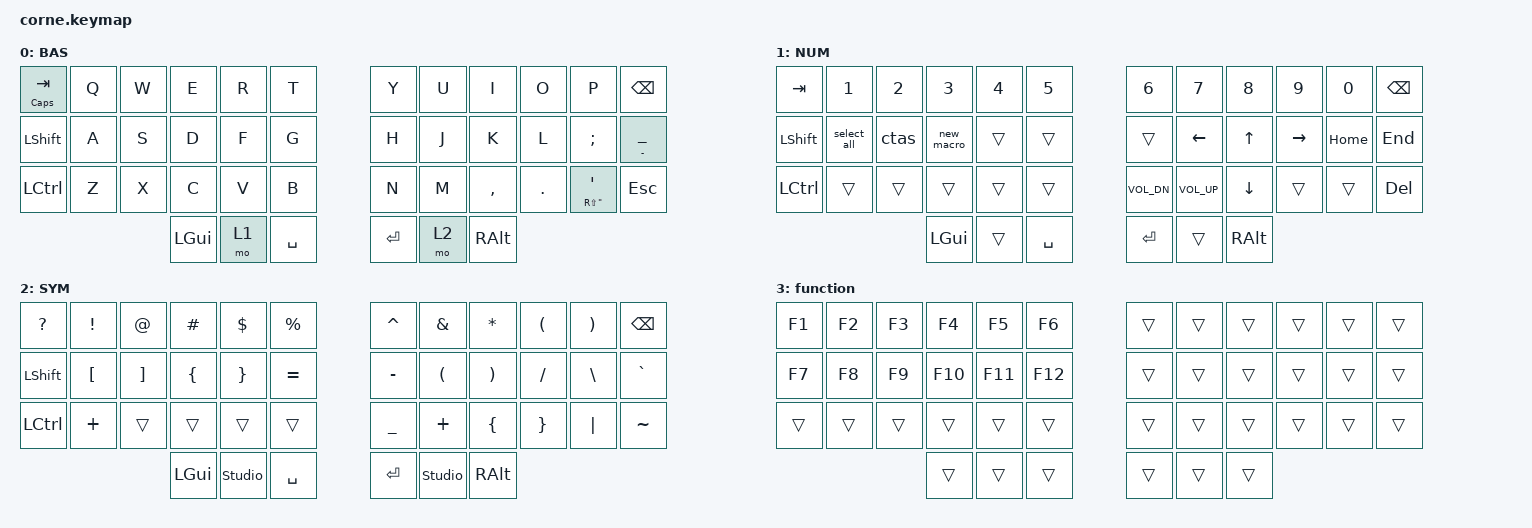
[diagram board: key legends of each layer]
/*
 * Copyright (c) 2020 The ZMK Contributors
 *
 * SPDX-License-Identifier: MIT
 */

#include <dt-bindings/led/led.h>
#include <dt-bindings/zmk/reset.h>
#include <behaviors.dtsi>
#include <dt-bindings/zmk/keys.h>

&led_strip { chain-length = <27>; };

/ {
    macros {
        select_all: select_all {
            compatible = "zmk,behavior-macro";
            #binding-cells = <0>;
            bindings = <&kp S &kp E &kp L &kp E &kp C &kp T &kp SPACE &kp STAR &kp SPACE &kp F &kp R &kp O &kp M &kp SPACE>;
            label = "SELECT_ALL";
        };

        ctas: ctas {
            compatible = "zmk,behavior-macro";
            #binding-cells = <0>;
            bindings = <&kp C &kp R &kp E &kp A &kp T &kp E &kp SPACE &kp O &kp R &kp SPACE &kp R &kp E &kp P &kp L &kp A &kp C &kp E &kp SPACE &kp T &kp A &kp B &kp L &kp E &kp SPACE>;
            label = "CTAS";
        };

        new_macro: new_macro {
            compatible = "zmk,behavior-macro";
            #binding-cells = <0>;
            bindings = <&kp F &kp O &kp R &kp SPACE &kp I &kp SPACE &kp I &kp N &kp SPACE &kp R &kp A &kp N &kp G &kp E &kp LPAR &kp RPAR &kp COLON>;
            label = "NEW_MACRO";
        };
    };

    keymap {
        compatible = "zmk,keymap";

        default_layer {
            display-name = "BAS";

            // -----------------------------------------------------------------------------------------
            // |  TAB |  Q  |  W  |  E  |  R  |  T  |   |  Y  |  U   |  I  |  O  |  P  | BKSP |
            // | CTRL |  A  |  S  |  D  |  F  |  G  |   |  H  |  J   |  K  |  L  |  ;  |  '   |
            // | SHFT |  Z  |  X  |  C  |  V  |  B  |   |  N  |  M   |  ,  |  .  |  /  | ESC  |
            //                    | GUI | LWR | SPC |   | ENT | RSE  | ALT |

            bindings = <
&mt CAPSLOCK TAB  &kp Q  &kp W  &kp E     &kp R  &kp T        &kp Y    &kp U  &kp I      &kp O    &kp P                               &kp BSPC
&kp LEFT_SHIFT    &kp A  &kp S  &kp D     &kp F  &kp G        &kp H    &kp J  &kp K      &kp L    &kp SEMI                            &mt MINUS UNDERSCORE
&kp LEFT_CONTROL  &kp Z  &kp X  &kp C     &kp V  &kp B        &kp N    &kp M  &kp COMMA  &kp DOT  &mt RS(DOUBLE_QUOTES) SINGLE_QUOTE  &kp ESC
                                &kp LGUI  &mo 1  &kp SPACE    &kp RET  &mo 2  &kp RALT
            >;
        };

        numbers {
            display-name = "NUM";

            // -----------------------------------------------------------------------------------------
            // |  TAB |  1  |  2  |  3  |  4  |  5  |   |  6  |  7  |  8  |  9  |  0  | BKSP |
            // | BTCLR| BT1 | BT2 | BT3 | BT4 | BT5 |   | LFT | DWN |  UP | RGT |     |      |
            // | SHFT |     |     |     |     |     |   |     |     |     |     |     |      |
            //                    | GUI |     | SPC |   | ENT |     | ALT |

            bindings = <
&kp TAB           &kp N1       &kp N2  &kp N3      &kp N4  &kp N5       &kp N6        &kp N7        &kp N8    &kp N9     &kp N0    &kp BSPC
&kp LEFT_SHIFT    &select_all  &ctas   &new_macro  &trans  &trans       &trans        &kp LEFT      &kp UP    &kp RIGHT  &kp HOME  &kp END
&kp LEFT_CONTROL  &trans       &trans  &trans      &trans  &trans       &kp C_VOL_DN  &kp C_VOL_UP  &kp DOWN  &trans     &trans    &kp DELETE
                                       &kp LGUI    &trans  &kp SPACE    &kp RET       &trans        &kp RALT
            >;
        };

        symbols {
            display-name = "SYM";

            // -----------------------------------------------------------------------------------------
            // |  TAB |  !  |  @  |  #  |  $  |  %  |   |  ^  |  &  |  *  |  (  |  )  | BKSP |
            // | CTRL |     |     |     |     |     |   |  -  |  =  |  [  |  ]  |  \  |  `   |
            // | SHFT |     |     |     |     |     |   |  _  |  +  |  {  |  }  | "|" |  ~   |
            //                    | GUI |     | SPC |   | ENT |     | ALT |

            bindings = <
&kp QUESTION      &kp EXCL          &kp AT             &kp HASH        &kp DLLR         &kp PRCNT    &kp CARET  &kp AMPS              &kp ASTRK              &kp LPAR   &kp RPAR  &kp BSPC
&kp LEFT_SHIFT    &kp LEFT_BRACKET  &kp RIGHT_BRACKET  &kp LEFT_BRACE  &kp RIGHT_BRACE  &kp EQUAL    &kp MINUS  &kp LEFT_PARENTHESIS  &kp RIGHT_PARENTHESIS  &kp SLASH  &kp BSLH  &kp GRAVE
&kp LEFT_CONTROL  &kp PLUS          &trans             &trans          &trans           &trans       &kp UNDER  &kp PLUS              &kp LBRC               &kp RBRC   &kp PIPE  &kp TILDE
                                                       &kp LGUI        &studio_unlock   &kp SPACE    &kp RET    &studio_unlock        &kp RALT
            >;
        };

        function {
            bindings = <
&kp F1  &kp F2  &kp F3  &kp F4   &kp F5   &kp F6     &trans  &trans  &trans  &trans  &trans  &trans
&kp F7  &kp F8  &kp F9  &kp F10  &kp F11  &kp F12    &trans  &trans  &trans  &trans  &trans  &trans
&trans  &trans  &trans  &trans   &trans   &trans     &trans  &trans  &trans  &trans  &trans  &trans
                        &trans   &trans   &trans     &trans  &trans  &trans
            >;
        };
    };

    conditional_layers {
        compatible = "zmk,conditional-layers";

        function_layer {
            if-layers = <1 2>;
            then-layer = <3>;
        };
    };
};
